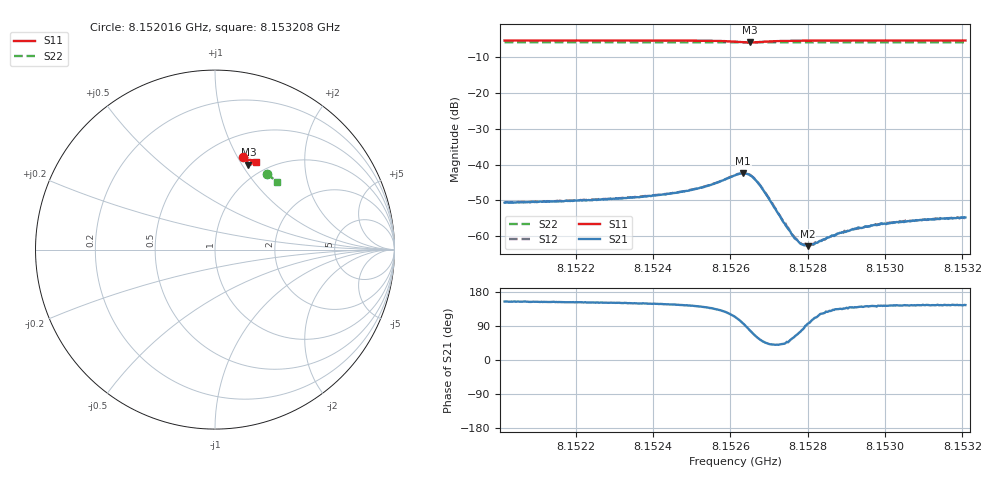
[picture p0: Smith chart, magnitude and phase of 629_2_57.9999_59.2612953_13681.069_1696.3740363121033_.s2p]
#  HZ  S  RI  R  50.00
! Rohde & Schwarz Vector Network Analyzer
! Rohde-Schwarz,ZNB20-2Port,1311601062101988,3.16
! Created: UTC 3/21/2024, 1:18:28 AM
! freq[Hz]  re:S11  im:S11  re:S21  im:S21  re:S12  im:S12  re:S22  im:S22
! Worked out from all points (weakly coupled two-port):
!   401 points, 8.152016 GHz to 8.153208 GHz, reference 50 ohm
!   highest |S21| = -42.42 dB at 8.152633 GHz (marker M1); lowest = -62.8 dB at 8.1528 GHz (marker M2)
!   lowest |S11| = -5.9 dB at 8.152651 GHz (marker M3), VSWR 3.06, Z = 41.9 + j53.3 ohm
!   |S11| at or under -10 dB: nowhere
!   |S22| runs from -5.9 to -5.8 dB; largest |S21 - S12| = 0.00015
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8.1520162e9  0.1583 0.5167  -0.00265 0.00128  -0.00267 0.00133  0.287 0.4239
8.1522157e9  0.1728 0.5121  -0.00281 0.00147  -0.00281 0.00152  0.2973 0.4166
8.152314e9  0.1802 0.5097  -0.00295 0.00166  -0.00295 0.00172  0.3024 0.4128
8.1524153e9  0.1884 0.5062  -0.00321 0.00203  -0.00315 0.00207  0.3076 0.4086
8.152463e9  0.1927 0.5039  -0.00337 0.00229  -0.00336 0.00236  0.31 0.4067
8.1525225e9  0.1987 0.4996  -0.00372 0.00301  -0.00366 0.00307  0.3131 0.4042
8.1525553e9  0.2024 0.4955  -0.00383 0.00373  -0.00381 0.00384  0.3146 0.4026
8.1526119e9  0.2042 0.48  -0.00288 0.00649  -0.00285 0.00655  0.3171 0.3999
8.1526328e9  0.1969 0.4725  -0.000866 0.00752  -0.000822 0.00758  0.3178 0.3989
8.1526506e9  0.1861 0.4725  0.0015 0.00696  0.00157 0.00706  0.3183 0.3984
8.1526625e9  0.1803 0.477  0.00262 0.00576  0.00268 0.0058  0.3187 0.3981
8.1526804e9  0.1775 0.4861  0.00299 0.00376  0.0031 0.00377  0.3194 0.3979
8.1527608e9  0.1917 0.5004  0.000556 0.000874  0.000589 0.000861  0.324 0.395
8.1527847e9  0.1952 0.5008  0.000149 0.000762  0.000158 0.000762  0.3251 0.3941
8.1527996e9  0.1973 0.5008  -7.15e-05 0.000725  -6.74e-05 0.000759  0.3259 0.3935
8.1528115e9  0.1986 0.5006  -0.00021 0.000743  -0.000212 0.000757  0.3265 0.3931
8.1528889e9  0.2067 0.4991  -0.000795 0.000814  -0.000808 0.000804  0.3303 0.3897
8.1529247e9  0.2097 0.4983  -0.000973 0.000845  -0.000979 0.000815  0.3321 0.3882
8.1529753e9  0.2138 0.497  -0.00114 0.000883  -0.00115 0.000927  0.3345 0.3861
8.1530111e9  0.2166 0.4961  -0.00122 0.0009  -0.00125 0.000931  0.3362 0.3845
8.1530587e9  0.2201 0.4947  -0.00133 0.000952  -0.00132 0.000973  0.3385 0.3824
8.1532076e9  0.2305 0.4905  -0.0015 0.00105  -0.00148 0.0011  0.3454 0.3758
